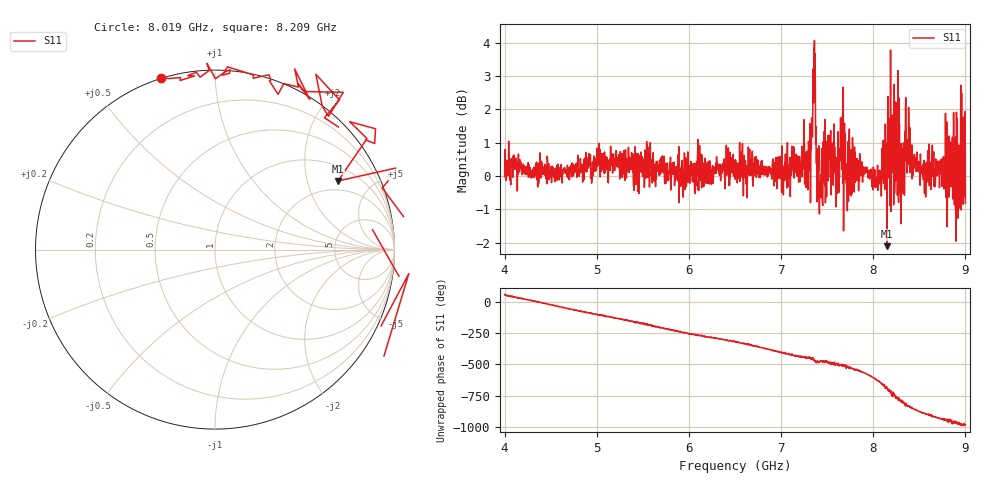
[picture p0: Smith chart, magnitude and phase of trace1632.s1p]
! Created with skrf 1.8.0 (http://scikit-rf.org).
# Hz S RI R 50.0
!freq ReS11 ImS11
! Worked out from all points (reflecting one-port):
!   1601 points, 4 GHz to 9 GHz, reference 50 ohm
!   lowest |S11| = -2.1 dB at 8.15 GHz (marker M1), VSWR 8.32, Z = 78.2 + j156 ohm
!   phase of S11 starts at 56 deg and turns -1037 deg over the sweep
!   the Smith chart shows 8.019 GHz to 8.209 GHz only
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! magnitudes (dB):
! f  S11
! 4 GHz  0.0
! 4.625 GHz  -0.2
! 5.25 GHz  -0.1
! 5.875 GHz  0.0
! 6.5 GHz  0.5
! 7.125 GHz  0.7
! 7.297 GHz  1.0
! 7.353 GHz  2.2
! 7.369 GHz  3.7
! 7.4 GHz  0.5
! 7.428 GHz  -0.5
! 7.522 GHz  0.6
! 7.612 GHz  -0.5
! 7.65 GHz  1.1
! 7.703 GHz  0.4
! 7.75 GHz  0.2
! 8.034 GHz  -0.2
! 8.15 GHz  -2.1
! 8.178 GHz  1.7
! 8.244 GHz  0.6
! 8.316 GHz  0.7
! 8.375 GHz  1.0
! 8.425 GHz  0.2
! 8.556 GHz  -0.5
! 8.85 GHz  0.3
! 8.919 GHz  -1.3
! 8.972 GHz  0.1
! 9 GHz  -0.8
